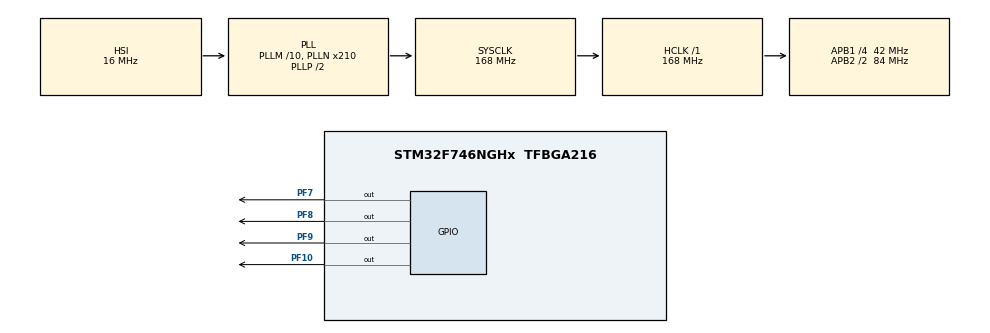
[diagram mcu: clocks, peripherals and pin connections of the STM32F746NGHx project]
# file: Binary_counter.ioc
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Mcu.Family=STM32F7
Mcu.Name=STM32F746NGHx
Mcu.Package=TFBGA216
NVIC.PriorityGroup=NVIC_PRIORITYGROUP_4
NVIC.TIM8_TRG_COM_TIM14_IRQn=true\:0\:0\:false\:false\:true\:false\:true
NVIC.TimeBase=TIM8_TRG_COM_TIM14_IRQn
NVIC.TimeBaseIP=TIM14
PA13.Mode=Serial_Wire
PA13.Signal=SYS_JTMS-SWDIO
PA14.Mode=Serial_Wire
PA14.Signal=SYS_JTCK-SWCLK
PC14/OSC32_IN.Mode=LSE-External-Clock-Source
PC14/OSC32_IN.Signal=RCC_OSC32_IN
PC15/OSC32_OUT.Mode=LSE-External-Clock-Source
PC15/OSC32_OUT.Signal=RCC_OSC32_OUT
PF10.Signal=GPIO_Output
PF7.Signal=GPIO_Output
PF8.Signal=GPIO_Output
PF9.Signal=GPIO_Output
PH0/OSC_IN.Mode=HSE-External-Oscillator
PH0/OSC_IN.Signal=RCC_OSC_IN
PH1/OSC_OUT.Mode=HSE-External-Oscillator
PH1/OSC_OUT.Signal=RCC_OSC_OUT
ProjectManager.HeapSize=0x200
ProjectManager.StackSize=0x400
ProjectManager.TargetToolchain=STM32CubeIDE
RCC.AHBFreq_Value=168000000
RCC.APB1CLKDivider=RCC_HCLK_DIV4
RCC.APB1Freq_Value=42000000
RCC.APB1TimFreq_Value=84000000
RCC.APB2CLKDivider=RCC_HCLK_DIV2
RCC.APB2Freq_Value=84000000
RCC.APB2TimFreq_Value=168000000
RCC.CortexFreq_Value=168000000
RCC.HCLKFreq_Value=168000000
RCC.HSE_VALUE=25000000
RCC.HSI_VALUE=16000000
RCC.LSE_VALUE=32768
RCC.PLLM=10
RCC.PLLN=210
RCC.PLLSourceVirtual=RCC_PLLSOURCE_HSI
RCC.SYSCLKFreq_VALUE=168000000
RCC.SYSCLKSource=RCC_SYSCLKSOURCE_PLLCLK
RCC.USBFreq_Value=168000000
RCC.VCOOutputFreq_Value=336000000
VP_SYS_VS_tim14.Mode=TIM14
board=STM32F746G-DISCO

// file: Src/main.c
/* USER CODE BEGIN Header */
/**
  ******************************************************************************
  * @file           : main.c
  * @brief          : Main program body
  ******************************************************************************
  * @attention
  *
  * <h2><center>&copy; Copyright (c) 2019 STMicroelectronics.
  * All rights reserved.</center></h2>
  *
  * This software component is licensed by ST under BSD 3-Clause license,
  * the "License"; You may not use this file except in compliance with the
  * License. You may obtain a copy of the License at:
  *                        opensource.org/licenses/BSD-3-Clause
  *
  ******************************************************************************
  */
/* USER CODE END Header */

#include "main.h"

void SystemClock_Config(void);
static void MX_GPIO_Init(void);

int main(void)
{

  /* MCU Configuration--------------------------------------------------------*/

  /* Reset of all peripherals, Initializes the Flash interface and the Systick. */
  HAL_Init();

  /* Configure the system clock */
  SystemClock_Config();

  /* Initialize all configured peripherals */
  MX_GPIO_Init();
  /* USER CODE BEGIN 2 */
      uint8_t counter = 0;
      uint8_t gpio_pin_0;
      uint8_t gpio_pin_1;
      uint8_t gpio_pin_2;
      uint8_t gpio_pin_3;
  /* USER CODE END 2 */

  /* Infinite loop */
  /* USER CODE BEGIN WHILE */
  while (1)
  {
	  counter ++;

	  gpio_pin_0 = counter & 1;
	  gpio_pin_1 = (counter >> 1) & 1;
	  gpio_pin_2 = (counter >> 2) & 1;
	  gpio_pin_3 = (counter >> 3) & 1;

	  HAL_GPIO_WritePin(GPIOF, GPIO_PIN_7, gpio_pin_0);
	  HAL_GPIO_WritePin(GPIOF, GPIO_PIN_8, gpio_pin_1);
	  HAL_GPIO_WritePin(GPIOF, GPIO_PIN_9, gpio_pin_2);
	  HAL_GPIO_WritePin(GPIOF, GPIO_PIN_10, gpio_pin_3);

	  HAL_Delay(500);

	  /*counter++;

	  		  HAL_GPIO_TogglePin(GPIOF, GPIO_PIN_7);

	  if(counter%2 == 0){
		  HAL_GPIO_TogglePin(GPIOF, GPIO_PIN_8);
	  }
	  if(counter % 4 == 0){
		  HAL_GPIO_TogglePin(GPIOF, GPIO_PIN_9);
	  }

	  if(counter > 7){
		  HAL_GPIO_TogglePin(GPIOF, GPIO_PIN_10);
	  }
HAL_Delay(500);
     HAL_GPIO_TogglePin(GPIOF, GPIO_PIN_7);
     HAL_GPIO_TogglePin(GPIOF, GPIO_PIN_8);
     HAL_GPIO_TogglePin(GPIOF, GPIO_PIN_9);
     HAL_GPIO_TogglePin(GPIOF, GPIO_PIN_10);*/

	  /*HAL_GPIO_TogglePin(GPIOF, GPIO_PIN_10);
	  	  		 HAL_Delay(1000);
	  	  HAL_GPIO_TogglePin(GPIOF, GPIO_PIN_10);
	  	  HAL_GPIO_TogglePin(GPIOF, GPIO_PIN_9);
	  	         HAL_Delay(1000);
	  	  HAL_GPIO_TogglePin(GPIOF, GPIO_PIN_9);
	  	HAL_GPIO_TogglePin(GPIOF, GPIO_PIN_8);
	  		  		 HAL_Delay(1000);
	  		  HAL_GPIO_TogglePin(GPIOF, GPIO_PIN_8);
	  		  HAL_GPIO_TogglePin(GPIOF, GPIO_PIN_7);
	  		         HAL_Delay(1000);
	  		  HAL_GPIO_TogglePin(GPIOF, GPIO_PIN_7);
	  		  */

    /* USER CODE END WHILE */

  }
}

void SystemClock_Config(void)
{
  RCC_OscInitTypeDef RCC_OscInitStruct = {0};
  RCC_ClkInitTypeDef RCC_ClkInitStruct = {0};

  /** Configure the main internal regulator output voltage
  */
  __HAL_RCC_PWR_CLK_ENABLE();
  __HAL_PWR_VOLTAGESCALING_CONFIG(PWR_REGULATOR_VOLTAGE_SCALE2);
  /** Initializes the CPU, AHB and APB busses clocks
  */
  RCC_OscInitStruct.OscillatorType = RCC_OSCILLATORTYPE_HSI;
  RCC_OscInitStruct.HSIState = RCC_HSI_ON;
  RCC_OscInitStruct.HSICalibrationValue = RCC_HSICALIBRATION_DEFAULT;
  RCC_OscInitStruct.PLL.PLLState = RCC_PLL_ON;
  RCC_OscInitStruct.PLL.PLLSource = RCC_PLLSOURCE_HSI;
  RCC_OscInitStruct.PLL.PLLM = 10;
  RCC_OscInitStruct.PLL.PLLN = 210;
  RCC_OscInitStruct.PLL.PLLP = RCC_PLLP_DIV2;
  RCC_OscInitStruct.PLL.PLLQ = 2;
  if (HAL_RCC_OscConfig(&RCC_OscInitStruct) != HAL_OK)
  {
    Error_Handler();
  }
  /** Initializes the CPU, AHB and APB busses clocks
  */
  RCC_ClkInitStruct.ClockType = RCC_CLOCKTYPE_HCLK|RCC_CLOCKTYPE_SYSCLK
                              |RCC_CLOCKTYPE_PCLK1|RCC_CLOCKTYPE_PCLK2;
  RCC_ClkInitStruct.SYSCLKSource = RCC_SYSCLKSOURCE_PLLCLK;
  RCC_ClkInitStruct.AHBCLKDivider = RCC_SYSCLK_DIV1;
  RCC_ClkInitStruct.APB1CLKDivider = RCC_HCLK_DIV4;
  RCC_ClkInitStruct.APB2CLKDivider = RCC_HCLK_DIV2;

  if (HAL_RCC_ClockConfig(&RCC_ClkInitStruct, FLASH_LATENCY_5) != HAL_OK)
  {
    Error_Handler();
  }
}

static void MX_GPIO_Init(void)
{
  GPIO_InitTypeDef GPIO_InitStruct = {0};

  /* GPIO Ports Clock Enable */
  __HAL_RCC_GPIOA_CLK_ENABLE();
  __HAL_RCC_GPIOC_CLK_ENABLE();
  __HAL_RCC_GPIOH_CLK_ENABLE();
  __HAL_RCC_GPIOF_CLK_ENABLE();

  /*Configure GPIO pin Output Level */
  HAL_GPIO_WritePin(GPIOF, GPIO_PIN_7|GPIO_PIN_10|GPIO_PIN_9|GPIO_PIN_8, GPIO_PIN_RESET);

  /*Configure GPIO pins : PF7 PF10 PF9 PF8 */
  GPIO_InitStruct.Pin = GPIO_PIN_7|GPIO_PIN_10|GPIO_PIN_9|GPIO_PIN_8;
  GPIO_InitStruct.Mode = GPIO_MODE_OUTPUT_PP;
  GPIO_InitStruct.Pull = GPIO_NOPULL;
  GPIO_InitStruct.Speed = GPIO_SPEED_FREQ_LOW;
  HAL_GPIO_Init(GPIOF, &GPIO_InitStruct);

}

void HAL_TIM_PeriodElapsedCallback(TIM_HandleTypeDef *htim)
{
  if (htim->Instance == TIM14) {
    HAL_IncTick();
  }
}

void Error_Handler(void)
{
}

/************************ (C) COPYRIGHT STMicroelectronics *****END OF FILE****/
